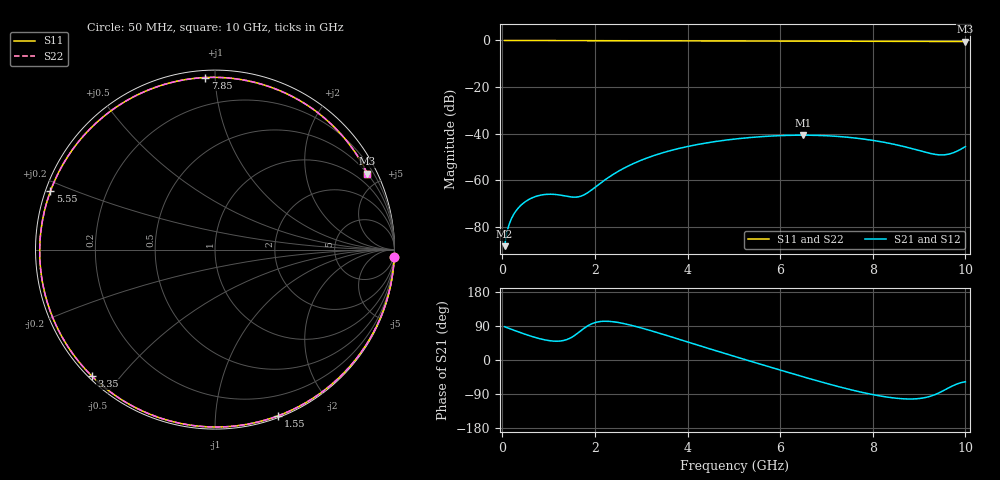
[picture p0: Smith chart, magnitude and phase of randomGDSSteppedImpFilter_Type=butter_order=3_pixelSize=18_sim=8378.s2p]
! freq	dB(S11)	phase(S11)	dB(S12)	phase(S12)
!  dB(S21)	phase(S21)	dB(S22)	phase(S22)
!S-par simulation data
#  GHz  S  DB  R 50
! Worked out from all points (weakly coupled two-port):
!   200 points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, 50 MHz to 10 GHz, reference 50 ohm
!   highest |S21| = -40.63 dB at 6.5 GHz (marker M1); lowest = -88.2 dB at 50 MHz (marker M2)
!   lowest |S11| = -0.5 dB at 10 GHz (marker M3), VSWR 37.61, Z = 25.1 + j210 ohm
!   |S11| at or under -10 dB: nowhere
!   |S22| runs from -0.5 to 0.0 dB; largest |S21 - S12| = 0
!   S11 on the Smith chart (normalised r, x): 50 MHz: 0, -48; 1.55 GHz: 0.01, -1.45; 3.35 GHz: 0.01, -0.42; 5.55 GHz: 0.01, +0.17; 7.85 GHz: 0.04, +0.94; 10 GHz: 0.50, +4.20
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0.05  -0.00 -2.4  -88.24 87.8  -88.24 87.8  -0.00 -2.4
0.15  -0.01 -7.1  -78.77 83.1  -78.77 83.1  -0.01 -7.1
0.25  -0.01 -11.7  -74.47 78.6  -74.47 78.6  -0.01 -11.7
0.35  -0.02 -16.3  -71.76 74.1  -71.76 74.1  -0.02 -16.3
0.65  -0.04 -30.1  -67.47 61.7  -67.47 61.7  -0.04 -30.1
1  -0.06 -45.8  -65.97 51.3  -65.97 51.3  -0.06 -45.8
1.55  -0.08 -69.2  -67.23 63.8  -67.23 63.8  -0.08 -69.2
1.75  -0.09 -77.3  -66.37 82.2  -66.37 82.2  -0.09 -77.3
2.5  -0.11 -105.6  -56.18 99.0  -56.18 99.0  -0.11 -105.6
3.35  -0.14 -134.4  -48.88 72.2  -48.88 72.2  -0.14 -134.4
3.4  -0.15 -136.0  -48.57 70.4  -48.57 70.4  -0.15 -136.0
4.2  -0.18 -160.6  -44.69 40.1  -44.69 40.1  -0.18 -160.5
5.05  -0.21 174.7  -42.22 8.2  -42.22 8.2  -0.21 174.7
5.55  -0.24 160.5  -41.32 -10.2  -41.32 -10.2  -0.24 160.5
6.5  -0.29 133.3  -40.63 -44.4  -40.63 -44.4  -0.29 133.3
6.7  -0.30 127.5  -40.67 -51.4  -40.67 -51.4  -0.30 127.5
7.3  -0.33 109.8  -41.25 -71.5  -41.25 -71.5  -0.33 109.8
7.85  -0.35 93.2  -42.42 -87.6  -42.42 -87.6  -0.35 93.3
8.35  -0.37 77.9  -44.09 -98.6  -44.09 -98.6  -0.37 77.9
9.45  -0.43 43.5  -49.08 -85.5  -49.08 -85.5  -0.43 43.6
9.7  -0.44 35.7  -48.43 -69.7  -48.43 -69.7  -0.44 35.8
10  -0.46 26.5  -45.53 -57.5  -45.53 -57.5  -0.46 26.5
